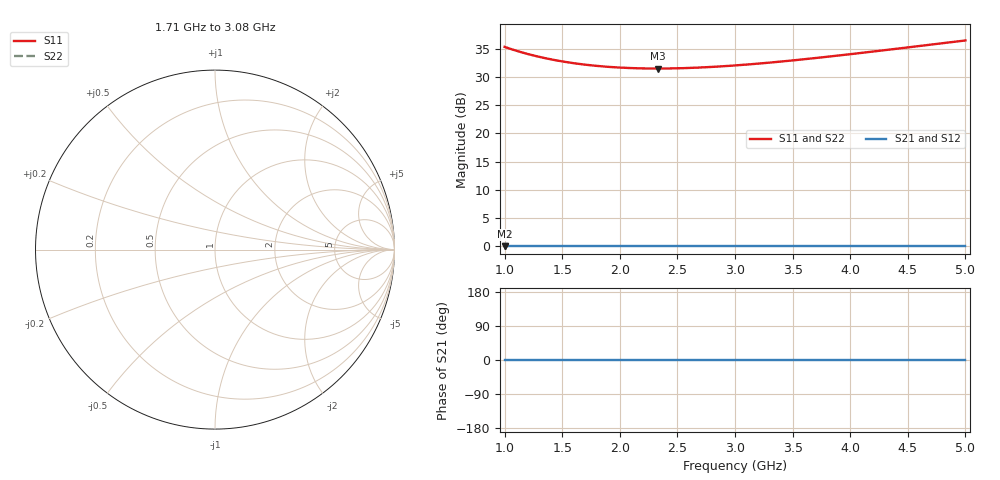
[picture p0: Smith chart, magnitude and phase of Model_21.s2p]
# GHZ S RI R 50
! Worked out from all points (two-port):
!   401 points, 1 GHz to 5 GHz, reference 50 ohm
!   highest |S21| = 0.00 dB at 1 GHz (marker M1); lowest = 0.0 dB at 1 GHz (marker M2)
!   |S21| within 3 dB of the highest: start of sweep to end of sweep
!   lowest |S11| = 31.5 dB at 2.33 GHz (marker M3)
!   |S11| at or under -10 dB: nowhere
!   |S22| runs from 31.5 to 36.5 dB; largest |S21 - S12| = 0
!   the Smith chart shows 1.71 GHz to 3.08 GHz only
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1  58.49 0  1 0  1 0  58.49 0
1.15  52.26 0  1 0  1 0  52.26 0
1.22  49.97 0  1 0  1 0  49.97 0
1.3  47.72 0  1 0  1 0  47.72 0
1.38  45.81 0  1 0  1 0  45.81 0
1.47  44 0  1 0  1 0  44 0
1.57  42.34 0  1 0  1 0  42.34 0
1.67  41.01 0  1 0  1 0  41.01 0
1.82  39.49 0  1 0  1 0  39.49 0
1.98  38.42 0  1 0  1 0  38.42 0
2.15  37.79 0  1 0  1 0  37.79 0
2.33  37.58 0  1 0  1 0  37.58 0
2.34  37.58 0  1 0  1 0  37.58 0
2.5  37.77 0  1 0  1 0  37.77 0
2.66  38.23 0  1 0  1 0  38.23 0
3  40.03 0  1 0  1 0  40.03 0
3.33  42.68 0  1 0  1 0  42.68 0
3.67  46.22 0  1 0  1 0  46.22 0
4  50.36 0  1 0  1 0  50.36 0
4.34  55.3 0  1 0  1 0  55.3 0
4.63  60.02 0  1 0  1 0  60.02 0
5  66.68 0  1 0  1 0  66.68 0
